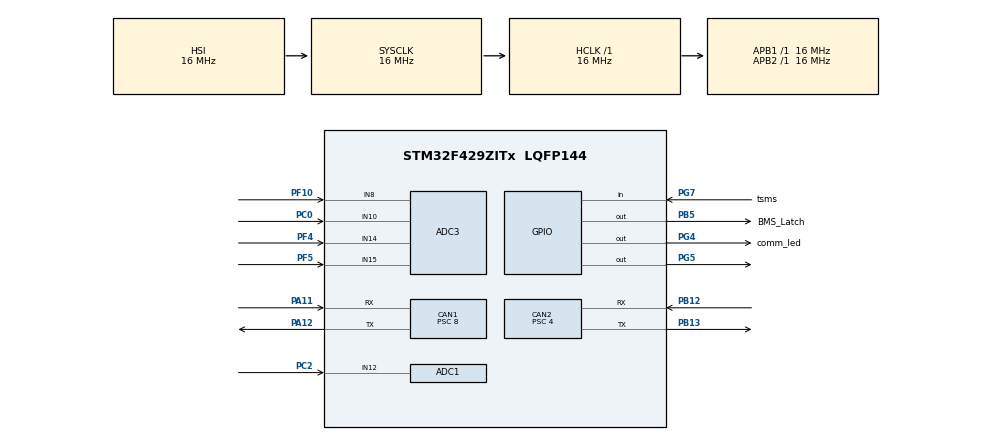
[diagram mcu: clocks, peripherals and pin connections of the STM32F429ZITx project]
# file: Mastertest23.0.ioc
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ADC1.Channel-0\#ChannelRegularConversion=ADC_CHANNEL_12
ADC1.NbrOfConversionFlag=1
ADC1.Rank-0\#ChannelRegularConversion=1
ADC1.SamplingTime-0\#ChannelRegularConversion=ADC_SAMPLETIME_3CYCLES
ADC1.master=1
ADC3.Channel-0\#ChannelRegularConversion=ADC_CHANNEL_14
ADC3.NbrOfConversionFlag=1
ADC3.Rank-0\#ChannelRegularConversion=1
ADC3.SamplingTime-0\#ChannelRegularConversion=ADC_SAMPLETIME_3CYCLES
CAN1.BS1=CAN_BS1_2TQ
CAN1.CalculateBaudRate=500000
CAN1.CalculateTimeBit=2000
CAN1.CalculateTimeQuantum=500.0
CAN1.Prescaler=8
CAN2.BS1=CAN_BS1_2TQ
CAN2.CalculateBaudRate=1000000
CAN2.CalculateTimeBit=1000
CAN2.CalculateTimeQuantum=250.0
CAN2.Prescaler=4
Mcu.Family=STM32F4
Mcu.Name=STM32F429ZITx
Mcu.Package=LQFP144
NVIC.CAN1_RX0_IRQn=true\:0\:0\:false\:false\:true\:true\:true\:true
NVIC.CAN1_RX1_IRQn=true\:0\:0\:false\:false\:true\:true\:true\:true
NVIC.CAN1_SCE_IRQn=true\:0\:0\:false\:false\:true\:true\:true\:true
NVIC.CAN1_TX_IRQn=true\:0\:0\:false\:false\:true\:true\:true\:true
NVIC.CAN2_RX0_IRQn=true\:0\:0\:false\:false\:true\:true\:true\:true
NVIC.CAN2_RX1_IRQn=true\:0\:0\:false\:false\:true\:true\:true\:true
NVIC.CAN2_SCE_IRQn=true\:0\:0\:false\:false\:true\:true\:true\:true
NVIC.CAN2_TX_IRQn=true\:0\:0\:false\:false\:true\:true\:true\:true
NVIC.PriorityGroup=NVIC_PRIORITYGROUP_4
NVIC.TIM2_IRQn=true\:0\:0\:false\:false\:true\:true\:true\:true
NVIC.TIM3_IRQn=true\:0\:0\:false\:false\:true\:true\:true\:true
NVIC.TIM4_IRQn=true\:0\:0\:false\:false\:true\:true\:true\:true
PA11.Mode=CAN_Activate
PA11.Signal=CAN1_RX
PA12.Mode=CAN_Activate
PA12.Signal=CAN1_TX
PA13.Signal=SYS_JTMS-SWDIO
PA14.Signal=SYS_JTCK-SWCLK
PB12.Mode=CAN_Activate
PB12.Signal=CAN2_RX
PB13.Mode=CAN_Activate
PB13.Signal=CAN2_TX
PB5.GPIO_Label=BMS_Latch
PB5.Signal=GPIO_Output
PC0.Signal=ADCx_IN10
PC2.Signal=ADCx_IN12
PF10.Mode=IN8
PF10.Signal=ADC3_IN8
PF4.Mode=IN14
PF4.Signal=ADC3_IN14
PF5.Mode=IN15
PF5.Signal=ADC3_IN15
PG4.GPIO_Label=comm_led
PG4.Signal=GPIO_Output
PG5.Signal=GPIO_Output
PG7.GPIO_Label=tsms
PG7.Signal=GPIO_Input
ProjectManager.HeapSize=0x200
ProjectManager.StackSize=0x400
ProjectManager.TargetToolchain=STM32CubeIDE
RCC.AHBFreq_Value=16000000
RCC.APB1Freq_Value=16000000
RCC.APB2Freq_Value=16000000
RCC.CortexFreq_Value=16000000
RCC.HSE_VALUE=25000000
RCC.HSI_VALUE=16000000
RCC.LSE_VALUE=32768
RCC.SYSCLKFreq_VALUE=16000000
RCC.VCOOutputFreq_Value=192000000
SH.ADCx_IN10.0=ADC3_IN10,IN10
SH.ADCx_IN12.0=ADC1_IN12,IN12
TIM10.AutoReloadPreload=TIM_AUTORELOAD_PRELOAD_ENABLE
TIM10.Period=249
TIM10.Prescaler=15999
TIM2.Period=60
TIM2.Prescaler=15999
TIM3.Period=999
TIM3.Prescaler=15999
TIM4.Period=249
TIM4.Prescaler=15999
VP_TIM10_VS_ClockSourceINT.Mode=Enable_Timer
VP_TIM2_VS_ClockSourceINT.Mode=Internal
VP_TIM3_VS_ClockSourceINT.Mode=Internal
VP_TIM4_VS_ClockSourceINT.Mode=Internal
board=custom

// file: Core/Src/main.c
/* USER CODE BEGIN Header */
/**
 **************************
 * @file           : main.c
 * @brief          : Main program body
 **************************
 * @attention
 *
 * Copyright (c) 2022 STMicroelectronics.
 * All rights reserved.
 *
 * This software is licensed under terms that can be found in the LICENSE file
 * in the root directory of this software component.
 * If no LICENSE file comes with this software, it is provided AS-IS.
 *
 **************************
 */
/* USER CODE END Header */
#include "main.h"

/* USER CODE BEGIN Includes */
#include <stddef.h>
#include <stdio.h>            /* This example main program uses printf/fflush */

/* USER CODE END Includes */

/* USER CODE BEGIN PTD */
typedef enum
{
  OK = 0,
  Overvoltage = 1,
  Undervoltage = 2,
  Overtemperature = 3,
  Overcurrent = 4
} Error_State_TypeDef;

/* USER CODE END PTD */

/* USER CODE BEGIN PD */
#define VOLT_COUNT 12
#define TEMP_COUNT 6

#define STACK_COUNT 8
#define MESSAGE_COUNT 4
/* USER CODE END PD */

ADC_HandleTypeDef hadc1;
ADC_HandleTypeDef hadc3;

CAN_HandleTypeDef hcan1;
CAN_HandleTypeDef hcan2;

TIM_HandleTypeDef htim2;
TIM_HandleTypeDef htim3;
TIM_HandleTypeDef htim4;
TIM_HandleTypeDef htim10;

/* USER CODE BEGIN PV */
typedef struct {
	CAN_HandleTypeDef* hcan;
    uint32_t id;
    uint16_t data[8];
    uint8_t DLC;

} CanMessage;

CanMessage canMessageQueue[50]; //here you define the size of CAN message you want to send sequentially
uint8_t queueHead = 0;
uint8_t queueTail = 0;

uint32_t CAN_Slave_no = 1;
uint32_t CAN_Slave_ID;
uint8_t request_to_slave = 1;
uint8_t TxData4[8];
uint16_t Txdata1[4];
uint8_t Txdata2[8];
uint8_t charging_state = 0; // to store various charging states
uint16_t crnt = 0;

// uint32_t CAN_slave_no;
// uint32_t CAN_slave_ID;

uint16_t TxData1[4];
uint16_t RxData[3];
uint8_t RxData1[8];

uint8_t Temp_Reg[STACK_COUNT][TEMP_COUNT] = {0};
uint16_t Volt_Reg[STACK_COUNT][VOLT_COUNT] = {0};
float Cell_Voltage[96] = {0};
uint8_t Cell_Temperature[48] = {0};
uint16_t Volt_Temp[4] = {0};
uint16_t Current;
int16_t v_out;
int i, chg_mode = 0;
float volt_total;
uint16_t Volt_max, Volt_min;
uint8_t Temp_max, Temp_min, Cur_max_temp = 0, Prev_max_temp = 0, Temp_flag = 0;

uint8_t TxData[8]; // for charger data
uint8_t Ch_fd[8];
uint16_t voltage_fd, current_fd = 0, temp_flag = 0, curr_act;
uint16_t tsms;
//uint32_t tickstart, curr_tick;
uint16_t err_flag_cntr = 0;

float x, x1;
float current, prev_current, curr_current;
float current_value = 0;

Error_State_TypeDef Error_State;
/* USER CODE END PV */

void SystemClock_Config(void);
static void MX_GPIO_Init(void);
static void MX_CAN1_Init(void);
static void MX_CAN2_Init(void);
static void MX_ADC3_Init(void);
static void MX_TIM2_Init(void);
static void MX_TIM3_Init(void);
static void MX_TIM4_Init(void);
static void MX_ADC1_Init(void);
static void MX_TIM10_Init(void);
/* USER CODE BEGIN PFP */

void CANStart();
HAL_StatusTypeDef CAN_Transmit(CAN_HandleTypeDef hcan, uint32_t id, uint32_t DLC, uint8_t *data);
void CANTransmit(uint32_t id, uint32_t IDE, uint32_t RTR, uint32_t DLC, uint8_t *data);
void CAN1Transmit(void);
void CheckErrors(void);
float current_sensor();
void Charger_CANTransmit(uint32_t id, uint32_t IDE, uint32_t RTR, uint32_t DLC, uint8_t *data);
uint16_t ADC_Read(uint32_t ADC_CH);
void eq_CAN_Tx(CAN_HandleTypeDef* hcan, uint32_t id, uint16_t* data,uint8_t len);
void CAN_Tx(CAN_HandleTypeDef* hcan, uint32_t id, uint8_t* data_tx);
void dq_CAN_Tx(void);
/* USER CODE END PFP */

/* USER CODE BEGIN 0 */

///Declare CAN_RxHeaderTypeDef for holding details of the complete Rx message/
CAN_RxHeaderTypeDef rxHeader;
CAN_RxHeaderTypeDef rxHeaderForChargerCan;
///Declare CAN_TxHeaderTypeDef for holding details of the complete Tx message/
CAN_TxHeaderTypeDef txHeader;

///Array to hold the received data/
uint16_t rxData[4];
///Array to hold the transmitted data/
uint8_t txData[8];
uint8_t rxDataFromChargerCan[8];

//Adding an array to keep track of the questioning and answering on the CAN line/
uint32_t canHealthMonitoringArray[8];
///Variable to keep the threshold of the number of CAN messages that can be missed before indicating an error/
uint32_t canHealthMonitoringThreshold = 2;
///Variable to act as a flag to tell the latch circuit to activate itself/
uint8_t slaveCanErrorFlag;

///Variable to hold the mail box details used to transmit data/
uint32_t txMailBox = 0x00U;
uint8_t testVar1 = 5;

/* USER CODE END 0 */

int main(void)
{

  /* MCU Configuration--------------------------------------------------------*/

  /* Reset of all peripherals, Initializes the Flash interface and the Systick. */
  HAL_Init();

  /* Configure the system clock */
  SystemClock_Config();

  /* Initialize all configured peripherals */
  MX_GPIO_Init();
  MX_CAN1_Init();
  MX_CAN2_Init();
  MX_ADC3_Init();
  MX_TIM2_Init();
  MX_TIM3_Init();
  MX_TIM4_Init();
  MX_ADC1_Init();
  MX_TIM10_Init();
  /* USER CODE BEGIN 2 */
  CANStart();

  HAL_TIM_Base_Start_IT(&htim2);
  HAL_TIM_Base_Start_IT(&htim3);
  HAL_TIM_Base_Start_IT(&htim4);
  HAL_TIM_Base_Start_IT(&htim10);

//  tickstart = HAL_GetTick();

  /* USER CODE END 2 */

  /* Infinite loop */
  while (1)
  {

    /* USER CODE BEGIN 3 */

//	  curr_tick = HAL_GetTick();
  }
  /* USER CODE END 3 */
}

void SystemClock_Config(void)
{
  RCC_OscInitTypeDef RCC_OscInitStruct = {0};
  RCC_ClkInitTypeDef RCC_ClkInitStruct = {0};

  /** Configure the main internal regulator output voltage
  */
  __HAL_RCC_PWR_CLK_ENABLE();
  __HAL_PWR_VOLTAGESCALING_CONFIG(PWR_REGULATOR_VOLTAGE_SCALE3);

  /** Initializes the RCC Oscillators according to the specified parameters
  * in the RCC_OscInitTypeDef structure.
  */
  RCC_OscInitStruct.OscillatorType = RCC_OSCILLATORTYPE_HSI;
  RCC_OscInitStruct.HSIState = RCC_HSI_ON;
  RCC_OscInitStruct.HSICalibrationValue = RCC_HSICALIBRATION_DEFAULT;
  RCC_OscInitStruct.PLL.PLLState = RCC_PLL_NONE;
  if (HAL_RCC_OscConfig(&RCC_OscInitStruct) != HAL_OK)
  {
    Error_Handler();
  }

  /** Initializes the CPU, AHB and APB buses clocks
  */
  RCC_ClkInitStruct.ClockType = RCC_CLOCKTYPE_HCLK|RCC_CLOCKTYPE_SYSCLK
                              |RCC_CLOCKTYPE_PCLK1|RCC_CLOCKTYPE_PCLK2;
  RCC_ClkInitStruct.SYSCLKSource = RCC_SYSCLKSOURCE_HSI;
  RCC_ClkInitStruct.AHBCLKDivider = RCC_SYSCLK_DIV1;
  RCC_ClkInitStruct.APB1CLKDivider = RCC_HCLK_DIV1;
  RCC_ClkInitStruct.APB2CLKDivider = RCC_HCLK_DIV1;

  if (HAL_RCC_ClockConfig(&RCC_ClkInitStruct, FLASH_LATENCY_0) != HAL_OK)
  {
    Error_Handler();
  }
}

static void MX_ADC1_Init(void)
{

  ADC_ChannelConfTypeDef sConfig = {0};

  /** Configure the global features of the ADC (Clock, Resolution, Data Alignment and number of conversion)
  */
  hadc1.Instance = ADC1;
  hadc1.Init.ClockPrescaler = ADC_CLOCK_SYNC_PCLK_DIV2;
  hadc1.Init.Resolution = ADC_RESOLUTION_12B;
  hadc1.Init.ScanConvMode = DISABLE;
  hadc1.Init.ContinuousConvMode = DISABLE;
  hadc1.Init.DiscontinuousConvMode = DISABLE;
  hadc1.Init.ExternalTrigConvEdge = ADC_EXTERNALTRIGCONVEDGE_NONE;
  hadc1.Init.ExternalTrigConv = ADC_SOFTWARE_START;
  hadc1.Init.DataAlign = ADC_DATAALIGN_RIGHT;
  hadc1.Init.NbrOfConversion = 1;
  hadc1.Init.DMAContinuousRequests = DISABLE;
  hadc1.Init.EOCSelection = ADC_EOC_SINGLE_CONV;
  if (HAL_ADC_Init(&hadc1) != HAL_OK)
  {
    Error_Handler();
  }

  /** Configure for the selected ADC regular channel its corresponding rank in the sequencer and its sample time.
  */
  sConfig.Channel = ADC_CHANNEL_12;
  sConfig.Rank = 1;
  sConfig.SamplingTime = ADC_SAMPLETIME_3CYCLES;
  if (HAL_ADC_ConfigChannel(&hadc1, &sConfig) != HAL_OK)
  {
    Error_Handler();
  }

}

static void MX_ADC3_Init(void)
{

  ADC_ChannelConfTypeDef sConfig = {0};

  /** Configure the global features of the ADC (Clock, Resolution, Data Alignment and number of conversion)
  */
  hadc3.Instance = ADC3;
  hadc3.Init.ClockPrescaler = ADC_CLOCK_SYNC_PCLK_DIV2;
  hadc3.Init.Resolution = ADC_RESOLUTION_12B;
  hadc3.Init.ScanConvMode = DISABLE;
  hadc3.Init.ContinuousConvMode = DISABLE;
  hadc3.Init.DiscontinuousConvMode = DISABLE;
  hadc3.Init.ExternalTrigConvEdge = ADC_EXTERNALTRIGCONVEDGE_NONE;
  hadc3.Init.ExternalTrigConv = ADC_SOFTWARE_START;
  hadc3.Init.DataAlign = ADC_DATAALIGN_RIGHT;
  hadc3.Init.NbrOfConversion = 1;
  hadc3.Init.DMAContinuousRequests = DISABLE;
  hadc3.Init.EOCSelection = ADC_EOC_SINGLE_CONV;
  if (HAL_ADC_Init(&hadc3) != HAL_OK)
  {
    Error_Handler();
  }

  /** Configure for the selected ADC regular channel its corresponding rank in the sequencer and its sample time.
  */
  sConfig.Channel = ADC_CHANNEL_14;
  sConfig.Rank = 1;
  sConfig.SamplingTime = ADC_SAMPLETIME_3CYCLES;
  if (HAL_ADC_ConfigChannel(&hadc3, &sConfig) != HAL_OK)
  {
    Error_Handler();
  }

}

static void MX_CAN1_Init(void)
{

  hcan1.Instance = CAN1;
  hcan1.Init.Prescaler = 8;
  hcan1.Init.Mode = CAN_MODE_NORMAL;
  hcan1.Init.SyncJumpWidth = CAN_SJW_1TQ;
  hcan1.Init.TimeSeg1 = CAN_BS1_2TQ;
  hcan1.Init.TimeSeg2 = CAN_BS2_1TQ;
  hcan1.Init.TimeTriggeredMode = DISABLE;
  hcan1.Init.AutoBusOff = DISABLE;
  hcan1.Init.AutoWakeUp = DISABLE;
  hcan1.Init.AutoRetransmission = DISABLE;
  hcan1.Init.ReceiveFifoLocked = DISABLE;
  hcan1.Init.TransmitFifoPriority = DISABLE;
  if (HAL_CAN_Init(&hcan1) != HAL_OK)
  {
    Error_Handler();
  }

}

static void MX_CAN2_Init(void)
{

  hcan2.Instance = CAN2;
  hcan2.Init.Prescaler = 4;
  hcan2.Init.Mode = CAN_MODE_NORMAL;
  hcan2.Init.SyncJumpWidth = CAN_SJW_1TQ;
  hcan2.Init.TimeSeg1 = CAN_BS1_2TQ;
  hcan2.Init.TimeSeg2 = CAN_BS2_1TQ;
  hcan2.Init.TimeTriggeredMode = DISABLE;
  hcan2.Init.AutoBusOff = DISABLE;
  hcan2.Init.AutoWakeUp = DISABLE;
  hcan2.Init.AutoRetransmission = DISABLE;
  hcan2.Init.ReceiveFifoLocked = DISABLE;
  hcan2.Init.TransmitFifoPriority = DISABLE;
  if (HAL_CAN_Init(&hcan2) != HAL_OK)
  {
    Error_Handler();
  }

}

static void MX_TIM2_Init(void)
{

  TIM_ClockConfigTypeDef sClockSourceConfig = {0};
  TIM_MasterConfigTypeDef sMasterConfig = {0};

  htim2.Instance = TIM2;
  htim2.Init.Prescaler = 15999;
  htim2.Init.CounterMode = TIM_COUNTERMODE_UP;
  htim2.Init.Period = 60;
  htim2.Init.ClockDivision = TIM_CLOCKDIVISION_DIV1;
  htim2.Init.AutoReloadPreload = TIM_AUTORELOAD_PRELOAD_DISABLE;
  if (HAL_TIM_Base_Init(&htim2) != HAL_OK)
  {
    Error_Handler();
  }
  sClockSourceConfig.ClockSource = TIM_CLOCKSOURCE_INTERNAL;
  if (HAL_TIM_ConfigClockSource(&htim2, &sClockSourceConfig) != HAL_OK)
  {
    Error_Handler();
  }
  sMasterConfig.MasterOutputTrigger = TIM_TRGO_RESET;
  sMasterConfig.MasterSlaveMode = TIM_MASTERSLAVEMODE_DISABLE;
  if (HAL_TIMEx_MasterConfigSynchronization(&htim2, &sMasterConfig) != HAL_OK)
  {
    Error_Handler();
  }

}

static void MX_TIM3_Init(void)
{

  TIM_ClockConfigTypeDef sClockSourceConfig = {0};
  TIM_MasterConfigTypeDef sMasterConfig = {0};

  htim3.Instance = TIM3;
  htim3.Init.Prescaler = 15999;
  htim3.Init.CounterMode = TIM_COUNTERMODE_UP;
  htim3.Init.Period = 999;
  htim3.Init.ClockDivision = TIM_CLOCKDIVISION_DIV1;
  htim3.Init.AutoReloadPreload = TIM_AUTORELOAD_PRELOAD_DISABLE;
  if (HAL_TIM_Base_Init(&htim3) != HAL_OK)
  {
    Error_Handler();
  }
  sClockSourceConfig.ClockSource = TIM_CLOCKSOURCE_INTERNAL;
  if (HAL_TIM_ConfigClockSource(&htim3, &sClockSourceConfig) != HAL_OK)
  {
    Error_Handler();
  }
  sMasterConfig.MasterOutputTrigger = TIM_TRGO_RESET;
  sMasterConfig.MasterSlaveMode = TIM_MASTERSLAVEMODE_DISABLE;
  if (HAL_TIMEx_MasterConfigSynchronization(&htim3, &sMasterConfig) != HAL_OK)
  {
    Error_Handler();
  }

}

static void MX_TIM4_Init(void)
{

  TIM_ClockConfigTypeDef sClockSourceConfig = {0};
  TIM_MasterConfigTypeDef sMasterConfig = {0};

  htim4.Instance = TIM4;
  htim4.Init.Prescaler = 15999;
  htim4.Init.CounterMode = TIM_COUNTERMODE_UP;
  htim4.Init.Period = 249;
  htim4.Init.ClockDivision = TIM_CLOCKDIVISION_DIV1;
  htim4.Init.AutoReloadPreload = TIM_AUTORELOAD_PRELOAD_DISABLE;
  if (HAL_TIM_Base_Init(&htim4) != HAL_OK)
  {
    Error_Handler();
  }
  sClockSourceConfig.ClockSource = TIM_CLOCKSOURCE_INTERNAL;
  if (HAL_TIM_ConfigClockSource(&htim4, &sClockSourceConfig) != HAL_OK)
  {
    Error_Handler();
  }
  sMasterConfig.MasterOutputTrigger = TIM_TRGO_RESET;
  sMasterConfig.MasterSlaveMode = TIM_MASTERSLAVEMODE_DISABLE;
  if (HAL_TIMEx_MasterConfigSynchronization(&htim4, &sMasterConfig) != HAL_OK)
  {
    Error_Handler();
  }

}

static void MX_TIM10_Init(void)
{

  htim10.Instance = TIM10;
  htim10.Init.Prescaler = 15999;
  htim10.Init.CounterMode = TIM_COUNTERMODE_UP;
  htim10.Init.Period = 249;
  htim10.Init.ClockDivision = TIM_CLOCKDIVISION_DIV1;
  htim10.Init.AutoReloadPreload = TIM_AUTORELOAD_PRELOAD_ENABLE;
  if (HAL_TIM_Base_Init(&htim10) != HAL_OK)
  {
    Error_Handler();
  }

}

static void MX_GPIO_Init(void)
{
  GPIO_InitTypeDef GPIO_InitStruct = {0};

  /* GPIO Ports Clock Enable */
  __HAL_RCC_GPIOF_CLK_ENABLE();
  __HAL_RCC_GPIOC_CLK_ENABLE();
  __HAL_RCC_GPIOB_CLK_ENABLE();
  __HAL_RCC_GPIOG_CLK_ENABLE();
  __HAL_RCC_GPIOA_CLK_ENABLE();

  /*Configure GPIO pin Output Level */
  HAL_GPIO_WritePin(GPIOG, comm_led_Pin|GPIO_PIN_5, GPIO_PIN_RESET);

  /*Configure GPIO pin Output Level */
  HAL_GPIO_WritePin(BMS_Latch_GPIO_Port, BMS_Latch_Pin, GPIO_PIN_RESET);

  /*Configure GPIO pins : comm_led_Pin PG5 */
  GPIO_InitStruct.Pin = comm_led_Pin|GPIO_PIN_5;
  GPIO_InitStruct.Mode = GPIO_MODE_OUTPUT_PP;
  GPIO_InitStruct.Pull = GPIO_NOPULL;
  GPIO_InitStruct.Speed = GPIO_SPEED_FREQ_LOW;
  HAL_GPIO_Init(GPIOG, &GPIO_InitStruct);

  /*Configure GPIO pin : tsms_Pin */
  GPIO_InitStruct.Pin = tsms_Pin;
  GPIO_InitStruct.Mode = GPIO_MODE_INPUT;
  GPIO_InitStruct.Pull = GPIO_NOPULL;
  HAL_GPIO_Init(tsms_GPIO_Port, &GPIO_InitStruct);

  /*Configure GPIO pin : BMS_Latch_Pin */
  GPIO_InitStruct.Pin = BMS_Latch_Pin;
  GPIO_InitStruct.Mode = GPIO_MODE_OUTPUT_PP;
  GPIO_InitStruct.Pull = GPIO_NOPULL;
  GPIO_InitStruct.Speed = GPIO_SPEED_FREQ_LOW;
  HAL_GPIO_Init(BMS_Latch_GPIO_Port, &GPIO_InitStruct);

}

/* USER CODE BEGIN 4 */

void CANStart()
{
  CAN_FilterTypeDef filter;
  filter.FilterActivation = ENABLE;
  filter.FilterFIFOAssignment = CAN_FILTER_FIFO0;

  // Allow two IDs per entry
  filter.FilterScale = CAN_FILTERSCALE_16BIT;
  filter.FilterMode = CAN_FILTERMODE_IDMASK;
  filter.FilterMaskIdHigh = 0x0000;
  filter.FilterMaskIdLow = 0x0000;
  filter.FilterIdLow = 0x0000;
  filter.FilterIdHigh = 0x0000;
  filter.FilterBank = 0;

  if (HAL_CAN_ConfigFilter(&hcan1, &filter) != HAL_OK)
  {
    Error_Handler();
  }
  if (HAL_CAN_Start(&hcan1) != HAL_OK)
  {
    Error_Handler();
  }
  if (HAL_CAN_ActivateNotification(&hcan1, CAN_IT_RX_FIFO0_MSG_PENDING | CAN_IT_RX_FIFO0_FULL | CAN_IT_RX_FIFO0_OVERRUN) != HAL_OK)
  {
    Error_Handler();
  }
  filter.FilterBank = 1;
  if (HAL_CAN_ConfigFilter(&hcan2, &filter) != HAL_OK)
  {
    Error_Handler();
  }
  if (HAL_CAN_Start(&hcan2) != HAL_OK)
  {
    Error_Handler();
  }
  if (HAL_CAN_ActivateNotification(&hcan2, CAN_IT_RX_FIFO0_MSG_PENDING | CAN_IT_RX_FIFO0_FULL | CAN_IT_RX_FIFO0_OVERRUN) != HAL_OK)
  {
    Error_Handler();
  }
}

HAL_StatusTypeDef CAN_Transmit(CAN_HandleTypeDef hcan, uint32_t id, uint32_t DLC, uint8_t *data)
{
  uint32_t mailbox;
  txHeader.IDE = CAN_ID_STD;
  txHeader.RTR = CAN_RTR_DATA;
  txHeader.StdId = id;
  txHeader.DLC = DLC;

  return HAL_CAN_AddTxMessage(&hcan, &txHeader, data, &mailbox);
}

// void CANTransmit(uint32_t id,uint32_t IDE,uint32_t RTR,uint32_t DLC,uint8_t *data)
//{
//	uint32_t mailbox = 0x00U;
//	CAN_TxHeaderTypeDef Header;
//	Header.StdId= id;
//	Header.IDE= IDE;
//	Header.RTR= RTR;
//	Header.DLC= DLC;
//
//	if(HAL_CAN_GetTxMailboxesFreeLevel(&hcan1)>0) {
//	  HAL_CAN_AddTxMessage(&hcan1, &Header, data , &mailbox);
//	}
//	if((hcan1.Instance->TSR & CAN_TSR_TXOK0) && (hcan1.Instance->TSR & CAN_TSR_RQCP0))
//		HAL_GPIO_TogglePin (GPIOD, GPIO_PIN_10);
//	else
//		HAL_GPIO_TogglePin (GPIOD, GPIO_PIN_9);
//
//	if(HAL_CAN_GetTxMailboxesFreeLevel(&hcan2)>0) {
//	  HAL_CAN_AddTxMessage(&hcan2, &Header, data , &mailbox);
//	}
//	if((hcan2.Instance->TSR & CAN_TSR_TXOK0) && (hcan2.Instance->TSR & CAN_TSR_RQCP0))
//		HAL_GPIO_TogglePin (GPIOD, GPIO_PIN_10);
//	else
//		HAL_GPIO_TogglePin (GPIOD, GPIO_PIN_9);
//
// }

void HAL_TIM_PeriodElapsedCallback(TIM_HandleTypeDef *htim)
{
  if (htim->Instance == TIM2) // data collection from slaves in each 50 ms
  {
    // HAL_GPIO_TogglePin(indication1_led_GPIO_Port, indication1_led_Pin);
    TxData4[0] = 5;
    TxData4[1] = 5;
    TxData4[2] = 5;
    TxData4[3] = 5;
    TxData4[4] = 5;
    TxData4[5] = 5;
    TxData4[6] = 5;
    TxData4[7] = 5;

    // CAN_Transmit(hcan2, 100, 8,TxData4);

    if (CAN_Slave_no < 9)
    {
      CAN_Slave_ID = CAN_Slave_no * 100;
      if (CAN_Transmit(hcan2, CAN_Slave_ID, 1, &request_to_slave) == HAL_OK)
      {
        HAL_GPIO_TogglePin(comm_led_GPIO_Port, comm_led_Pin);
      }
//      /Incrementing the value in the can health monitoring array as we ask the question/
      canHealthMonitoringArray[CAN_Slave_no - 1]++;
      if (canHealthMonitoringArray[CAN_Slave_no - 1] > canHealthMonitoringThreshold)
      {
//        /This implies that we have encountered an error and we need to tell the BMS latch circuit/
        slaveCanErrorFlag = SET;
      }
      CAN_Slave_no++;
    }
    else
    {
      CAN_Slave_no = 1;
    }
  }

  //	if(htim->Instance == TIM3)
  //	{
  //		/Perform the charger related tasks/
  //		voltage_fd=Ch_fd[0]*256+Ch_fd[1];
  //		current_fd=Ch_fd[2]*256+Ch_fd[3];
  //		tsms=ADC_Read(ADC_CHANNEL_15);
  //		if(tsms>4000)
  //		{
  //			if(voltage_fd<3984&&Volt_max<4120)
  //			{
  //				uint16_t volt = 3984;
  //				uint16_t cur = 110;
  //				TxData[0]=volt >> 8;
  //				TxData[1]=volt & ((1<<8) - 1);
  //				TxData[2]=cur >> 8;
  //				TxData[3]=cur & ((1<<8) - 1);
  //				TxData[4]=0;
  //				Charger_CANTransmit(0x1806E5F4,1,0,8,(uint8_t *) TxData);
  //			}
  //			if(voltage_fd<3984&&Volt_max>4120)
  //			{
  //				uint16_t volt = 3984;
  //				uint16_t cur = 55;
  //				TxData[0]=volt >> 8;
  //				TxData[1]=volt & ((1<<8) - 1);
  //				TxData[2]=cur >> 8;
  //				TxData[3]=cur & ((1<<8) - 1);
  //				TxData[4]=0;
  //				Charger_CANTransmit(0x1806E5F4,1,0,8,(uint8_t *) TxData);
  //			}
  //			if(voltage_fd<3984&&Volt_max>4180)
  //			{						//?
  //				uint16_t volt = 3984;
  //				uint16_t cur = 0;
  //				TxData[0]=volt >> 8;
  //				TxData[1]=volt & ((1<<8) - 1);
  //				TxData[2]=cur >> 8;
  //				TxData[3]=cur & ((1<<8) - 1);
  //				TxData[4]=1;
  //				Charger_CANTransmit(0x1806E5F4,1,0,8,(uint8_t *) TxData);
  //			}
  //			if(voltage_fd>3984)
  //			{
  //				uint16_t volt = 3984;
  //				uint16_t cur = 0;
  //				TxData[0]=volt >> 8;
  //				TxData[1]=volt & ((1<<8) - 1);
  //				TxData[2]=cur >> 8;
  //				TxData[3]=cur & ((1<<8) - 1);
  //				TxData[4]=1;
  //				Charger_CANTransmit(0x1806E5F4,1,0,8,(uint8_t *) TxData);
  ////				HAL_Delay(400);
  //				HAL_GPIO_WritePin(BMS_Latch_GPIO_Port, BMS_Latch_Pin, RESET);
  //			}
  //		}
  //		else
  //		{
  //			TxData[4]=1;
  //			Charger_CANTransmit(0x1806E5F4,1,0,8,(uint8_t *) TxData);
  //		}
  //	}

  if (htim->Instance == TIM3)
  {
//    /Perform the charger related tasks/
    voltage_fd = Ch_fd[0] * 256 + Ch_fd[1];
    current_fd = Ch_fd[2] * 256 + Ch_fd[3];
    curr_act = current_fd / 10;

//    tsms = ADC_Read(ADC_CHANNEL_15);

    if(HAL_GPIO_ReadPin(tsms_GPIO_Port, tsms_Pin) == 1)
//    	tsms
//    if (tsms > 4000)
    {
    	tsms =1;
//      if (voltage_fd < 3984 && Volt_max < 4000)
    	if (voltage_fd < 4000 && Volt_max < 4000)
      {
//        uint16_t volt = 3984;
    	uint16_t volt = 4000;
        uint16_t cur = 110;
        crnt = cur;
        TxData[0] = volt >> 8;
        TxData[1] = volt & ((1 << 8) - 1);
        TxData[2] = cur >> 8;
        TxData[3] = cur & ((1 << 8) - 1);
        TxData[4] = 0;
        Charger_CANTransmit(0x1806E5F4, 1, 0, 8, (uint8_t *)TxData);

//        HAL_GPIO_TogglePin(GPIOG, GPIO_PIN_5);
      }
//      else if (voltage_fd < 3984 && Volt_max >= 4000 && Volt_max < 4120)
    	else if (voltage_fd < 4000 && Volt_max >= 4000 && Volt_max < 4120)
      {
        if (crnt == 0)
          crnt = 55;

//        uint16_t volt = 3984;
        uint16_t volt = 4000;
        uint16_t cur = crnt;
        TxData[0] = volt >> 8;
        TxData[1] = volt & ((1 << 8) - 1);
        TxData[2] = cur >> 8;
        TxData[3] = cur & ((1 << 8) - 1);
        TxData[4] = 0;
        Charger_CANTransmit(0x1806E5F4, 1, 0, 8, (uint8_t *)TxData);

//        HAL_GPIO_TogglePin(GPIOG, GPIO_PIN_5);
      }
//      else if (voltage_fd < 3984 && Volt_max >= 4120)
    	else if (voltage_fd < 4000 && Volt_max >= 4120)
      {
//        uint16_t volt = 3984;
    	uint16_t volt = 4000;
//        uint16_t cur = 22;
    	uint16_t cur = 55;
        crnt = cur;
        TxData[0] = volt >> 8;
        TxData[1] = volt & ((1 << 8) - 1);
        TxData[2] = cur >> 8;
        TxData[3] = cur & ((1 << 8) - 1);
        TxData[4] = 0;
        Charger_CANTransmit(0x1806E5F4, 1, 0, 8, (uint8_t *)TxData);

//        HAL_GPIO_TogglePin(GPIOG, GPIO_PIN_5);
      }
//      if (voltage_fd < 3984 && Volt_max > 4200)
    	if (voltage_fd < 4000 && Volt_max > 4198)
      { //?
//        uint16_t volt = 3984;
        uint16_t volt = 4000;
        uint16_t cur = 0;
        crnt = cur;
        TxData[0] = volt >> 8;
        TxData[1] = volt & ((1 << 8) - 1);
        TxData[2] = cur >> 8;
        TxData[3] = cur & ((1 << 8) - 1);
        TxData[4] = 1;
        Charger_CANTransmit(0x1806E5F4, 1, 0, 8, (uint8_t *)TxData);
      }
//      if (voltage_fd > 3984)
    	if (voltage_fd > 4000)
      {
//        uint16_t volt = 3984;
    	uint16_t volt = 4000;
        uint16_t cur = 0;
        crnt = cur;
        TxData[0] = volt >> 8;
        TxData[1] = volt & ((1 << 8) - 1);
        TxData[2] = cur >> 8;
        TxData[3] = cur & ((1 << 8) - 1);
        TxData[4] = 1;
        Charger_CANTransmit(0x1806E5F4, 1, 0, 8, (uint8_t *)TxData);
        //				HAL_Delay(400);
        HAL_GPIO_WritePin(BMS_Latch_GPIO_Port, BMS_Latch_Pin, RESET);
      }
    }
    else
    {
      tsms = 0;
      TxData[4] = 1;
      Charger_CANTransmit(0x1806E5F4, 1, 0, 8, (uint8_t *)TxData);
      HAL_GPIO_WritePin(GPIOG, GPIO_PIN_5, RESET);
    }
  }

  if (htim->Instance == TIM4) // check error, measure current and operate BMS latch in each 400 ms
  {
    /*Write the part of code where we reset the slave can error flag*/
    if ((canHealthMonitoringArray[0] <= canHealthMonitoringThreshold) && (canHealthMonitoringArray[1] <= canHealthMonitoringThreshold) && (canHealthMonitoringArray[2] <= canHealthMonitoringThreshold) && (canHealthMonitoringArray[3] <= canHealthMonitoringThreshold) && (canHealthMonitoringArray[4] <= canHealthMonitoringThreshold) && (canHealthMonitoringArray[5] <= canHealthMonitoringThreshold) && (canHealthMonitoringArray[6] <= canHealthMonitoringThreshold) && (canHealthMonitoringArray[7] <= canHealthMonitoringThreshold) && (canHealthMonitoringArray[8] <= canHealthMonitoringThreshold))
    {
//      /This imlpies that all the indices in the array have indicated that the slave CAN is working correctly/
      slaveCanErrorFlag = RESET;
    }
    // HAL_GPIO_TogglePin(indication3_led_GPIO_Port, indication3_led_Pin);
    //  measure current
    CheckErrors();
    current_value = current_sensor();
    if (current_value >= 220.00 || current_value <= -50.00)
    {
//      Error_State = Overcurrent;
    }
    // error check
    // CheckErrors();
    // BMS_latch operation
    if ((Error_State == Overvoltage) | (Error_State == Undervoltage) | (Error_State == Overtemperature) | (Error_State == Overcurrent) | (slaveCanErrorFlag == SET))
    {
    	++err_flag_cntr;
    	if(err_flag_cntr > 40)

    	{
    		HAL_GPIO_WritePin(BMS_Latch_GPIO_Port, BMS_Latch_Pin, RESET); // error then RESET
      //				HAL_GPIO_TogglePin(comm_led_GPIO_Port, comm_led_Pin);
    	}
    }
    else
    {
      err_flag_cntr = 0;
      HAL_GPIO_WritePin(BMS_Latch_GPIO_Port, BMS_Latch_Pin, SET);
    }

    for (uint8_t i = 0; i < STACK_COUNT; i++)
    {
      for (uint8_t j = 0; j < VOLT_COUNT; j++)
      {
        Cell_Voltage[VOLT_COUNT * i + j] = (float)Volt_Reg[i][j] / 1000;
      }
      for (uint8_t k = 0; k < TEMP_COUNT; k++)
      {
        Cell_Temperature[TEMP_COUNT * i + k] = Temp_Reg[i][k];
      }
    }
  }
  if(htim == &htim10)
  {
	if(tsms==1)
		CAN1Transmit();
  }

}

void HAL_CAN_RxFifo0MsgPendingCallback(CAN_HandleTypeDef *hcan)
{
  testVar1 = 10;
//  /Checking for CAN messages/
  HAL_CAN_GetRxMessage(hcan, CAN_RX_FIFO0, &rxHeader, (uint8_t *)Volt_Temp);
  if (hcan->Instance == CAN1)
  {
//    /This implies that the charger CAN has responded/
    if (rxHeader.ExtId == 0x18FF50E5)
    {
      uint8_t *RxData1 = (uint8_t *)Volt_Temp;
      Ch_fd[0] = RxData1[0];
      Ch_fd[1] = RxData1[1];
      Ch_fd[2] = RxData1[2];
      Ch_fd[3] = RxData1[3];
      Ch_fd[4] = RxData1[4];
      Ch_fd[5] = RxData1[5];
      Ch_fd[6] = RxData1[6];
      Ch_fd[7] = RxData1[7];
    }
    if (rxHeader.StdId == 0x13)
    {
      RxData1[3] = Volt_Temp[3];
      RxData1[2] = Volt_Temp[2];
      RxData1[1] = Volt_Temp[1];
      RxData1[0] = Volt_Temp[0];
    }

    HAL_GPIO_TogglePin(GPIOG, GPIO_PIN_5);
  }

  else if (hcan->Instance == CAN2)
  {
    /*This implies that the battery slave CAN has responded*/
    uint8_t slave_no = rxHeader.StdId / 100;
    uint8_t slave_data_id = rxHeader.StdId % 100;
//    /Resetting the value in the array at a given index to indicate that the particular slave has responded/
    canHealthMonitoringArray[slave_no - 1] = RESET;
    if (slave_data_id == 1)
    {
      //		HAL_GPIO_TogglePin(comm_led_GPIO_Port, comm_led_Pin);
      for (int i = 0; i < 4; i++)
      {
        Volt_Reg[slave_no - 1][i] = Volt_Temp[i];
      }

    }

    if (slave_data_id == 5)
    {
      //		HAL_GPIO_TogglePin(comm_led_GPIO_Port, comm_led_Pin);
      for (int i = 0; i < 4; i++)
      {
        Volt_Reg[slave_no - 1][i + 4] = Volt_Temp[i];
      }
    }

    if (slave_data_id == 9)
    {
      //		HAL_GPIO_TogglePin(comm_led_GPIO_Port, comm_led_Pin);
      for (int i = 0; i < 4; i++)
      {
        Volt_Reg[slave_no - 1][i + 8] = Volt_Temp[i];
      }
    }

    if (slave_data_id == 21)
    {
      // HAL_GPIO_TogglePin(comm_led_GPIO_Port, comm_led_Pin);
      for (int i = 0, j = 0; i < 5; i += 2, j++)
      {
        Temp_Reg[slave_no - 1][i] = Volt_Temp[j] >> 8;
        Temp_Reg[slave_no - 1][i + 1] = Volt_Temp[j] & 0xff;
      }
    }
  }
}

void CheckErrors(void)
{
  Volt_max = 0;
  Volt_min = 5000;
  volt_total = 0;
  Temp_max = 0;
  Temp_min = 100;

  Error_State = OK;

  for (int i = 0; i < STACK_COUNT; i++)
  {
    for (int j = 0; j < VOLT_COUNT; j++)
    {
      if (Volt_Reg[i][j] > Volt_max)
        Volt_max = Volt_Reg[i][j];

      if (Volt_Reg[i][j] < Volt_min)
        Volt_min = Volt_Reg[i][j];

      volt_total += Volt_Reg[i][j]; // Calculating overall voltage
    }
  }

  volt_total = volt_total / 1000.0; // converting milli-Volts to Volts

  for (int i = 0; i < STACK_COUNT; i++)
  {
    //		Temp_avg[i] = 0;

    for (int j = 0; j < TEMP_COUNT; j++)
    {
      if (Temp_Reg[i][j] > Temp_max)
        Temp_max = Temp_Reg[i][j];

      if (Temp_Reg[i][j] < Temp_min)
        Temp_min = Temp_Reg[i][j];

      //			Temp_avg[i] += Temp_Reg[i][j];
    }

    //		Temp_avg[i] = Temp_avg[i]/TEMP_COUNT;
  }

  if (Volt_max > 4200)
    Error_State = Overvoltage;

  else if (Volt_min < 3200)
    Error_State = Undervoltage;

  //	Prev_max_temp = Cur_max_temp;
  //	Cur_max_temp = Temp_max;
  //
  //	if(Temp_max > 59)
  //	{
  //		if (Cur_max_temp - Prev_max_temp <= 2 && Cur_max_temp - Prev_max_temp >= -2
  //				&& Temp_flag == 0)
  //		{
  //			Temp_flag++;
  //
  //			if(Temp_flag > 3)
  //				Error_State = Overtemperature;
  //		}
  //	}

  //	for(int k = 0; k < STACK_COUNT; ++k)
  //	{

//  if(Temp_max > 55 && Temp_max < 62)
//  {
//	  temp_flag++;
//
//  }
//  else
//	  temp_flag = 0;
  if (chg_mode == 0 && Temp_max > 205 && Temp_max < 215) // in case of connector removal
  	  Error_State = Overtemperature;

  else if (chg_mode == 0 && Temp_max < 54)
	  temp_flag = 0;
  else if (chg_mode == 0 && Temp_max > 54 && Temp_max < 59)
	  ++temp_flag;
  else if (chg_mode == 0 && Temp_max > 59)
  {
	  if(temp_flag > 10000)
		  Error_State = Overtemperature;
  }

  else if (chg_mode == 1 && Temp_max > 44) // in case of charging
	  Error_State = Overtemperature;
  //	}

  if (Temp_max > 216)
	  Error_State = OK;
}

// float current_sensor()
//{
//	HAL_ADC_Start(&hadc3);
//	HAL_ADC_PollForConversion(&hadc3, 10);
//	int16_t v_out = HAL_ADC_GetValue(&hadc3);
//	float x = ((v_out/4095.00) * 5.00) - 2.5;
//     float current = ((x/1.25)*400);
//	return current;
// }

float current_sensor()
{
  HAL_ADC_Start(&hadc3);
  HAL_ADC_PollForConversion(&hadc3, 14);
  // int16_t v_out = HAL_ADC_GetValue(&hadc3);
  v_out = ADC_Read(ADC_CHANNEL_8);

  x = (v_out / 4096.00) * 3.3;
  x1 = x*2 - 2.5;
  current = ((x1 / 1.25) * 200)+5;

  prev_current = curr_current;
  curr_current = current;

  if (current < 8 && current > -2)
    current = 0;

  if (curr_current - prev_current > 7)
    current = 0;

  return current;
}

void Charger_CANTransmit(uint32_t id, uint32_t IDE, uint32_t RTR, uint32_t DLC, uint8_t *data)
{
  uint32_t mailbox;
  CAN_TxHeaderTypeDef Header;
  Header.ExtId = id;
  Header.IDE = CAN_ID_EXT;
  Header.RTR = CAN_RTR_DATA;
  Header.DLC = DLC;

  if (HAL_CAN_GetTxMailboxesFreeLevel(&hcan1) > 0)
  {
    HAL_CAN_AddTxMessage(&hcan1, &Header, data, &mailbox);
  }
}

uint16_t ADC_Read(uint32_t ADC_CH)
{
  uint32_t val;
  ADC_ChannelConfTypeDef sConfig = {0};
  sConfig.Channel = ADC_CH;
  sConfig.Rank = 1;
  HAL_ADC_ConfigChannel(&hadc3, &sConfig);
  HAL_ADC_Start(&hadc3);
  HAL_ADC_PollForConversion(&hadc3, 1);
  val = HAL_ADC_GetValue(&hadc3);
  HAL_ADC_Stop(&hadc3);
  return val;
}
void CAN1Transmit(){
	for(int i=0;i<8;i++){
		for(int j=0;j<4;j++){
			Txdata1[j]=Volt_Reg[i][j];
		}
		eq_CAN_Tx(&hcan1,(i+1)*100,Txdata1,4);
		for(int j=4;j<8;j++){
			Txdata1[j-4]=Volt_Reg[i][j];
		}
		eq_CAN_Tx(&hcan1,(i+1)*100+1,Txdata1,4);
		for(int j=8;j<12;j++){
			Txdata1[j-8]=Volt_Reg[i][j];
		}
		eq_CAN_Tx(&hcan1,(i+1)*100+2,Txdata1,4);
	}
	for(int i=0;i<8;i++){
		for(int j=0;j<8;j++){
			Txdata2[j]=Temp_Reg[i][j];
		}
		eq_CAN_Tx(&hcan1,(i+1)*100+3,Txdata2,8);
	}
	while(1)
		{
		   if ((hcan1.Instance->TSR & CAN_TSR_TME0) || (hcan1.Instance->TSR & CAN_TSR_TME1) || (hcan1.Instance->TSR & CAN_TSR_TME2))  // checking empty CAN Tx mailboxes for can2 replace hcan1 with hcan2
		   {
			dq_CAN_Tx();
			if (queueHead == queueTail) {
					// Queue is empty, nothing to dequeue
					break; // once queue empty no need for infinite queue
		   }
		}
	}
}
void eq_CAN_Tx(CAN_HandleTypeDef* hcan, uint32_t id, uint16_t* data,uint8_t len) {
    // Check if queue is full
    if ((queueHead + 1) % 10 == queueTail) {
        // Queue is full, discard new message
        return;
    }

    // Enqueue message
    canMessageQueue[queueHead].id = id;
    for (int i = 0; i < len; i++) {
        canMessageQueue[queueHead].data[i] = data[i];
    }
    canMessageQueue[queueHead].hcan = hcan;
    queueHead = (queueHead + 1) % 10;
}

void dq_CAN_Tx(void) {
    // Check if queue is empty
    if (queueHead == queueTail) {
        // Queue is empty, nothing to dequeue
        return;
    }

    // Transmit message at the head of the queue
    CanMessage* message = &canMessageQueue[queueTail];

    CAN_Tx(message -> hcan,message->id,message->data);
    // Update queue tail
    queueTail = (queueTail + 1) % 10;
}

void CAN_Tx(CAN_HandleTypeDef* hcan, uint32_t id, uint8_t* data_tx){
	    CAN_TxHeaderTypeDef TxHeader;
		uint32_t Txmailbox = 0x00U;
		TxHeader.DLC=8;
	    TxHeader.StdId=id; // 11 bits
	    TxHeader.IDE=CAN_ID_STD;
	    TxHeader.RTR=CAN_RTR_DATA;

		if(HAL_CAN_GetTxMailboxesFreeLevel(hcan)>0){

			if (HAL_CAN_AddTxMessage(hcan, &TxHeader, data_tx, &Txmailbox)!= HAL_OK){
				Error_Handler();
			}
		}

}
/* USER CODE END 4 */

void Error_Handler(void)
{
  __disable_irq();
  while (1)
  {
  }
}
